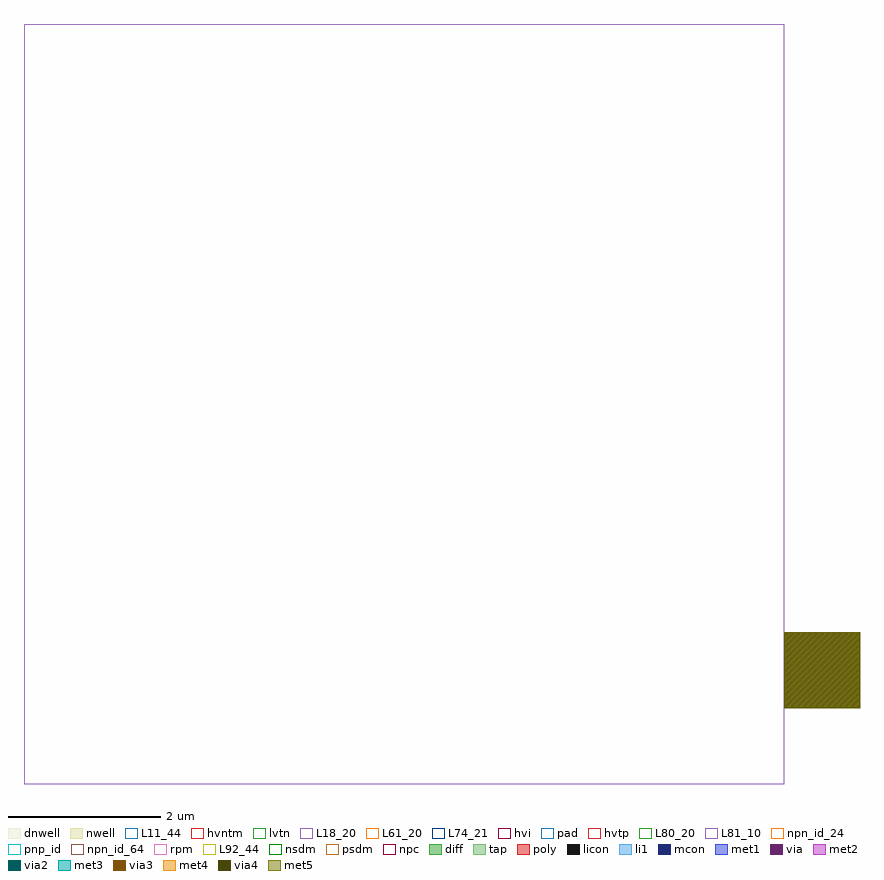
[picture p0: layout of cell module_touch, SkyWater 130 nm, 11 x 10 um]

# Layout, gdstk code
import gdstk
lib = gdstk.Library(unit=1e-6, precision=1e-09)
def R(c, l, rs):  # rectangles x0, y0, x1, y1
    for r in rs: c.add(gdstk.rectangle(r[:2], r[2:], *l))
L11_44 = (11, 44)
L18_20 = (18, 20)
L61_20 = (61, 20)
dnwell = (64, 18)
nwell = (64, 20)
diff = (65, 20)
tap = (65, 44)
poly = (66, 20)
licon = (66, 44)
li1 = (67, 20)
mcon = (67, 44)
met1 = (68, 20)
via = (68, 44)
met2 = (69, 20)
via2 = (69, 44)
met3 = (70, 20)
via3 = (70, 44)
met4 = (71, 20)
via4 = (71, 44)
met5 = (72, 20)
L74_21 = (74, 21)
hvi = (75, 20)
pad = (76, 20)
hvtp = (78, 44)
L80_20 = (80, 20)
L81_10 = (81, 10)
npn_id_24 = (82, 24)
pnp_id = (82, 44)
npn_id_64 = (82, 64)
rpm = (86, 20)
L92_44 = (92, 44)
nsdm = (93, 44)
psdm = (94, 20)
npc = (95, 20)
hvntm = (125, 20)
lvtn = (125, 44)

module_touch = lib.new_cell('module_touch')
R(module_touch, L11_44, [(10,1,11,2)])
R(module_touch, L18_20, [(10,1,11,2)])
R(module_touch, L61_20, [(10,1,11,2)])
R(module_touch, dnwell, [(10,1,11,2)])
R(module_touch, nwell, [(10,1,11,2)])
R(module_touch, diff, [(10,1,11,2)])
R(module_touch, tap, [(10,1,11,2)])
R(module_touch, poly, [(10,1,11,2)])
R(module_touch, licon, [(10,1,11,2)])
R(module_touch, li1, [(10,1,11,2)])
R(module_touch, mcon, [(10,1,11,2)])
R(module_touch, met1, [(10,1,11,2)])
R(module_touch, via, [(10,1,11,2)])
R(module_touch, met2, [(10,1,11,2)])
R(module_touch, via2, [(10,1,11,2)])
R(module_touch, met3, [(10,1,11,2)])
R(module_touch, via3, [(10,1,11,2)])
R(module_touch, met4, [(10,1,11,2)])
R(module_touch, via4, [(10,1,11,2)])
R(module_touch, met5, [(10,1,11,2)])
R(module_touch, L74_21, [(10,1,11,2)])
R(module_touch, hvi, [(10,1,11,2)])
R(module_touch, pad, [(10,1,11,2)])
R(module_touch, hvtp, [(10,1,11,2)])
R(module_touch, L80_20, [(10,1,11,2)])
R(module_touch, L81_10, [(0,0,10,10)])
R(module_touch, npn_id_24, [(10,1,11,2)])
R(module_touch, pnp_id, [(10,1,11,2)])
R(module_touch, npn_id_64, [(10,1,11,2)])
R(module_touch, rpm, [(10,1,11,2)])
R(module_touch, L92_44, [(10,1,11,2)])
R(module_touch, nsdm, [(10,1,11,2)])
R(module_touch, psdm, [(10,1,11,2)])
R(module_touch, npc, [(10,1,11,2)])
R(module_touch, hvntm, [(10,1,11,2)])
R(module_touch, lvtn, [(10,1,11,2)])

lib.write_gds('module_touch.gds')
